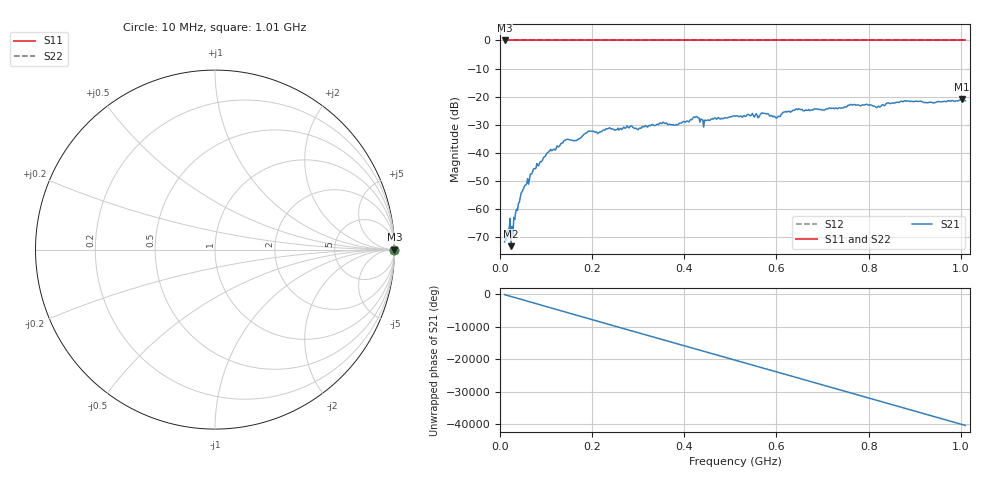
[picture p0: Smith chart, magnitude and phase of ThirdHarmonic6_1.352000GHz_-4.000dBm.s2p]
! 8/16/2025 3:13:13 PM
! C:\ANRITSUVNA\TEMP\TEMP.S2P
! CHANNEL.1
! TR.MEASUREMENT
! RAW.DATA
! RF.CORRECTION.OFF
! AVERAGING.OFF
! IF.BANDWIDTH: 5KHZ
! SWEEPTYPE:  FREQ.SWEEP(Linear)
! Reference Plane Port Info
! PORT:  PORT1  PORT2
! DISTANCE:  0  m  0  m
! TIME:  0  s  0  s
! PHASE.OFFSET:  0  deg.  0  deg.
! LOSS:  0  dB  0  dB
! REF.LOSS:  0  dB  0  dB
! REF.FREQ:  0  Hz  0  Hz
! Power Info
! POWER:  -20  dBm  -20  dBm
! EFF.POWER:  -20  dBm  -20  dBm
! SOURCE.ATTEN:  0  dB  0  dB
! TEST.ATTEN:  0  dB  0  dB
# GHZ S RI R 50.0
! FREQ.GHZ  S11RE  S11IM  S21RE  S21IM  S12RE  S12IM  S22RE  S22IM
!; PortSelection: Port_12
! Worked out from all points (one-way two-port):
!   501 points, 10 MHz to 1.01 GHz, reference 50 ohm
!   highest |S21| = -20.99 dB at 1.002 GHz (marker M1); lowest = -73.1 dB at 24 MHz (marker M2)
!   lowest |S11| = 0.0 dB at 10 MHz (marker M3)
!   |S11| at or under -10 dB: nowhere
!   |S22| runs from 0.0 to 0.0 dB; largest |S21 - S12| = 1.1
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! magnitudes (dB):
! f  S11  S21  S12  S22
! 10 MHz  0.0  -71.6  0.0  0.0
! 18 MHz  0.0  -67.3  0.0  0.0
! 24 MHz  0.0  -73.1  0.0  0.0
! 28 MHz  0.0  -69.2  0.0  0.0
! 34 MHz  0.0  -61.1  0.0  0.0
! 48 MHz  0.0  -53.8  0.0  0.0
! 76 MHz  0.0  -45.6  0.0  0.0
! 106 MHz  0.0  -39.6  0.0  0.0
! 142 MHz  0.0  -35.5  0.0  0.0
! 178 MHz  0.0  -34.1  0.0  0.0
! 196 MHz  0.0  -32.3  0.0  0.0
! 344 MHz  0.0  -30.0  0.0  0.0
! 424 MHz  0.0  -27.3  0.0  0.0
! 446 MHz  0.0  -28.4  0.0  0.0
! 510 MHz  0.0  -26.9  0.0  0.0
! 572 MHz  0.0  -25.9  0.0  0.0
! 602 MHz  0.0  -27.2  0.0  0.0
! 646 MHz  0.0  -24.6  0.0  0.0
! 678 MHz  0.0  -24.7  0.0  0.0
! 844 MHz  0.0  -22.3  0.0  0.0
! 1.002 GHz  0.0  -21.0  0.0  0.0
! 1.01 GHz  0.0  -21.5  0.0  0.0
